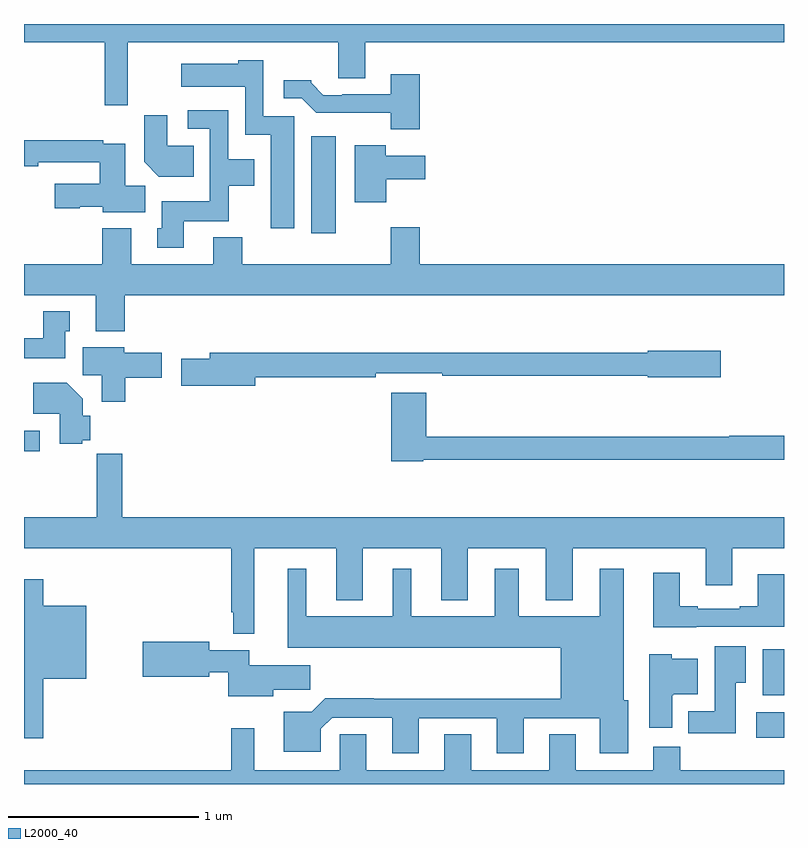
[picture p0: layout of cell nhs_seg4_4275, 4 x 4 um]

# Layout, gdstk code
import gdstk
lib = gdstk.Library(unit=1e-6, precision=1e-09)
def R(c, l, rs):  # rectangles x0, y0, x1, y1
    for r in rs: c.add(gdstk.rectangle(r[:2], r[2:], *l))
def P(c, l, *ps):  # polygons
    for p in ps: c.add(gdstk.Polygon(p, *l))
L2000_40 = (2000, 40)

nhs_seg4_4275 = lib.new_cell('nhs_seg4_4275')
R(nhs_seg4_4275, L2000_40, [(342.855,809.144,343,809.278), (342.887,809.366,343,809.608), (339,810.651,339.082,810.759), (340.511,811.8,340.642,812.308)])
P(nhs_seg4_4275, L2000_40, [(339.545,812.804),(340.655,812.804),(340.655,812.614),(340.795,812.614),(340.795,812.804),(343,812.804),(343,812.9),(339,812.9),(339,812.804),(339.424,812.804),(339.424,812.472),(339.545,812.472)],
  [(340.423,812.415),(340.26,812.415),(340.26,812.71),(340.128,812.71),(340.128,812.692),(339.828,812.692),(339.828,812.57),(340.164,812.57),(340.164,812.318),(340.298,812.318),(340.298,811.824),(340.423,811.824)],
  [(341.084,812.635),(340.931,812.635),(340.931,812.529),(340.675,812.529),(340.675,812.526),(340.576,812.526),(340.512,812.59),(340.512,812.605),(340.368,812.605),(340.368,812.508),(340.461,812.508),(340.537,812.432),(340.929,812.432),(340.929,812.345),(341.084,812.345)],
  [(339.841,811.862),(340.077,811.862),(340.077,812.048),(340.213,812.048),(340.213,812.188),(340.074,812.188),(340.074,812.445),(339.861,812.445),(339.861,812.349),(339.978,812.349),(339.978,811.966),(339.725,811.966),(339.725,811.824),(339.701,811.824),(339.701,811.722),(339.841,811.722)],
  [(339.893,812.26),(339.754,812.26),(339.754,812.419),(339.632,812.419),(339.632,812.174),(339.71,812.096),(339.893,812.096)],
  [(339.637,812.048),(339.532,812.048),(339.532,812.27),(339.416,812.27),(339.416,812.288),(339,812.288),(339,812.152),(339.074,812.152),(339.074,812.172),(339.398,812.172),(339.398,812.059),(339.162,812.059),(339.162,811.93),(339.294,811.93),(339.294,811.937),(339.414,811.937),(339.414,811.91),(339.637,811.91)],
  [(340.906,812.084),(341.113,812.084),(341.113,812.206),(340.904,812.206),(340.904,812.263),(340.742,812.263),(340.742,811.962),(340.906,811.962)],
  [(339.53,811.472),(343,811.472),(343,811.636),(341.084,811.636),(341.084,811.831),(340.931,811.831),(340.931,811.636),(340.148,811.636),(340.148,811.777),(339.995,811.777),(339.995,811.636),(339.565,811.636),(339.565,811.825),(339.413,811.825),(339.413,811.636),(339,811.636),(339,811.472),(339.377,811.472),(339.377,811.283),(339.53,811.283)],
  [(339.217,811.284),(339.241,811.284),(339.241,811.387),(339.101,811.387),(339.101,811.246),(339,811.246),(339,811.142),(339.217,811.142)],
  [(339.532,811.037),(339.724,811.037),(339.724,811.171),(339.528,811.171),(339.528,811.198),(339.308,811.198),(339.308,811.051),(339.41,811.051),(339.41,810.912),(339.532,810.912)],
  [(340.216,811.042),(340.85,811.042),(340.85,811.062),(341.2,811.062),(341.2,811.05),(342.282,811.05),(342.282,811.042),(342.667,811.042),(342.667,811.179),(342.282,811.179),(342.282,811.171),(339.977,811.171),(339.977,811.137),(339.828,811.137),(339.828,810.995),(340.216,810.995)],
  [(339.306,810.71),(339.349,810.71),(339.349,810.838),(339.31,810.838),(339.31,810.928),(339.226,811.012),(339.049,811.012),(339.049,810.848),(339.188,810.848),(339.188,810.691),(339.306,810.691)],
  [(341.1,810.606),(343,810.606),(343,810.734),(342.712,810.734),(342.712,810.727),(341.117,810.727),(341.117,810.958),(340.934,810.958),(340.934,810.598),(341.1,810.598)],
  [(340.213,810.14),(340.643,810.14),(340.643,809.867),(340.783,809.867),(340.783,810.14),(341.195,810.14),(341.195,809.867),(341.335,809.867),(341.335,810.14),(341.747,810.14),(341.747,809.867),(341.887,809.867),(341.887,810.14),(342.587,810.14),(342.587,809.946),(342.727,809.946),(342.727,810.14),(343,810.14),(343,810.304),(339.518,810.304),(339.518,810.637),(339.383,810.637),(339.383,810.524),(339.382,810.524),(339.382,810.304),(339,810.304),(339,810.14),(340.092,810.14),(340.092,809.803),(340.102,809.803),(340.102,809.691),(340.213,809.691)],
  [(341.077,809.247),(341.489,809.247),(341.489,809.061),(341.629,809.061),(341.629,809.247),(342.029,809.247),(342.029,809.061),(342.181,809.061),(342.181,809.34),(342.157,809.34),(342.157,810.034),(342.029,810.034),(342.029,809.782),(341.605,809.782),(341.605,810.034),(341.477,810.034),(341.477,809.782),(341.038,809.782),(341.038,810.034),(340.94,810.034),(340.94,809.782),(340.486,809.782),(340.486,810.034),(340.388,810.034),(340.388,809.618),(341.825,809.618),(341.825,809.348),(340.841,809.348),(340.841,809.351),(340.586,809.351),(340.515,809.28),(340.367,809.28),(340.367,809.069),(340.563,809.069),(340.563,809.19),(340.623,809.25),(340.937,809.25),(340.937,809.061),(341.077,809.061)],
  [(342.539,809.727),(343,809.727),(343,810.004),(342.863,810.004),(342.863,809.836),(342.767,809.836),(342.767,809.823),(342.547,809.823),(342.547,809.836),(342.451,809.836),(342.451,810.013),(342.311,810.013),(342.311,809.726),(342.539,809.726)],
  [(339.101,809.453),(339.328,809.453),(339.328,809.839),(339.101,809.839),(339.101,809.977),(339,809.977),(339,809.142),(339.101,809.142)],
  [(340.312,809.395),(340.507,809.395),(340.507,809.524),(340.186,809.524),(340.186,809.604),(339.976,809.604),(339.976,809.648),(339.624,809.648),(339.624,809.465),(339.976,809.465),(339.976,809.488),(340.076,809.488),(340.076,809.363),(340.312,809.363)],
  [(342.745,809.432),(342.799,809.432),(342.799,809.626),(342.635,809.626),(342.635,809.284),(342.497,809.284),(342.497,809.166),(342.745,809.166)],
  [(342.412,809.366),(342.418,809.366),(342.418,809.372),(342.547,809.372),(342.547,809.56),(342.408,809.56),(342.408,809.584),(342.29,809.584),(342.29,809.196),(342.412,809.196)],
  [(343,808.972),(342.455,808.972),(342.455,809.096),(342.311,809.096),(342.311,808.972),(341.905,808.972),(341.905,809.162),(341.765,809.162),(341.765,808.972),(341.353,808.972),(341.353,809.162),(341.213,809.162),(341.213,808.972),(340.801,808.972),(340.801,809.162),(340.662,809.162),(340.662,808.972),(340.213,808.972),(340.213,809.194),(340.092,809.194),(340.092,808.972),(339,808.972),(339,808.9),(343,808.9)])

lib.write_gds('nhs_seg4_4275.gds')
